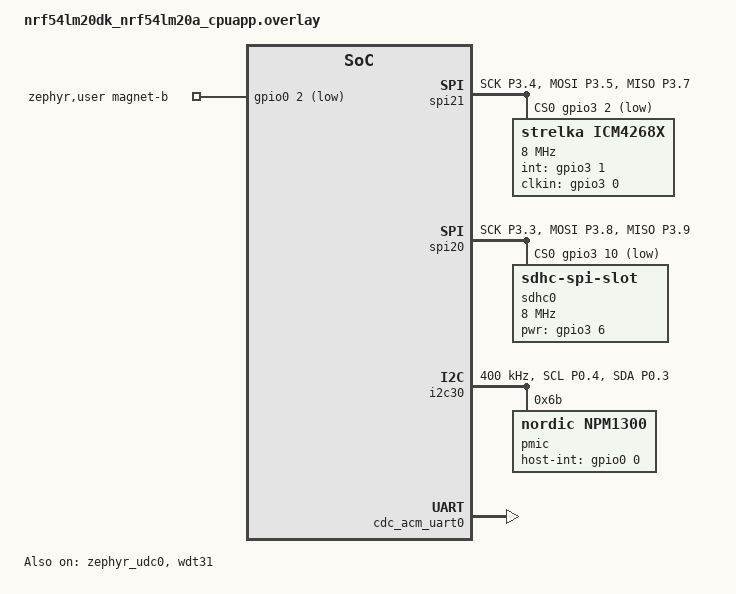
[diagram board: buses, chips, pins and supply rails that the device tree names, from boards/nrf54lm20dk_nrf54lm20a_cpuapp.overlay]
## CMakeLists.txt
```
# NIC-Strelka — the Belka's firmware: an nRF Connect SDK project on Zephyr, built with sysbuild
# for the nRF54LM20-DK, MCUboot beside it (FIRMWARE.md, The platform):
#
#     west build -b nrf54lm20dk/nrf54lm20a/cpuapp --sysbuild firmware/belka
#
# Built against nRF Connect SDK v3.4.0 with Zephyr SDK 1.0.1, MCUboot beside it; not run on
# hardware: the kit decides it (../README.md).
cmake_minimum_required(VERSION 3.20.0)
# the shared Kconfig first, the unit's own after it, so that the unit's values win; a file given
# by -D<project>_EXTRA_CONF_FILE comes after both
set(CONF_FILE ${CMAKE_CURRENT_LIST_DIR}/../shared/common.conf ${CMAKE_CURRENT_LIST_DIR}/prj.conf)
# Kryska: the Belka's firmware for Kryska's board, its devicetree and configuration laid over, by
# sysbuild's own variables for the image (boards/kryska.overlay):
#
#     west build -b nrf54lm20dk/nrf54lm20a/cpuapp --sysbuild firmware/belka --
#         -Dbelka_EXTRA_CONF_FILE=kryska.conf -Dbelka_EXTRA_DTC_OVERLAY_FILE=boards/kryska.overlay
#
# its other way, the NOR flash, by kryska_nor.conf and boards/kryska_nor.overlay the same
# the sensor on the FLPR; first, so that the fallback's overlay, given after it, wins
# (boards/sensor_on_app.overlay, with CONFIG_STRELKA_SENSOR_FLPR=n)
list(PREPEND EXTRA_DTC_OVERLAY_FILE ${CMAKE_CURRENT_LIST_DIR}/boards/flpr.overlay)
find_package(Zephyr REQUIRED HINTS $ENV{ZEPHYR_BASE})
project(strelka_belka LANGUAGES C)

set(COMMON ${CMAKE_CURRENT_LIST_DIR}/../common)
set(SHARED ${CMAKE_CURRENT_LIST_DIR}/../shared)
target_sources(app PRIVATE
  src/main.c
  ${SHARED}/clock.c
  ${SHARED}/crypto_psa.c
  ${SHARED}/light.c
  ${SHARED}/magnet.c
  ${SHARED}/usb.c
  ${SHARED}/gauge.c
  ${SHARED}/store.c
  ${SHARED}/pmic.c
  ${SHARED}/power.c
  ${SHARED}/strelka_mgmt_zephyr.c
  ${COMMON}/cal.c
  ${COMMON}/crc32.c
  ${COMMON}/record.c
  ${COMMON}/session.c
  ${COMMON}/steps.c
  ${COMMON}/frame.c
  ${COMMON}/belka_link.c
  ${COMMON}/orient.c
  ${COMMON}/frag.c
  ${COMMON}/smp.c
  ${COMMON}/strelka_mgmt.c
  ${COMMON}/quat.c
  ${COMMON}/loop.c
  ${COMMON}/imu_tables.c
  ${COMMON}/resample.c
  ${COMMON}/setfile.c
)
# the Belka's card, Kryska's SD NAND too, or on Kryska's other way its NOR flash behind the card's
# interface, the record raw on it (chapters/kryska-memory.md)
if(CONFIG_DISK_DRIVER_SDMMC)
  target_sources(app PRIVATE src/card.c)
else()
  target_sources(app PRIVATE src/flash_rec.c ${COMMON}/flashrec.c)
endif()
if(CONFIG_STRELKA_SENSOR_FLPR)
  target_sources(app PRIVATE src/sensor_flpr.c)
else()
  target_sources(app PRIVATE src/imu.c)
endif()
target_include_directories(app PRIVATE src ${SHARED} ${COMMON})
# the fuel gauge's cell model: the SDK sample's, until the cell is profiled (shared/gauge.h)
target_include_directories(app PRIVATE ${ZEPHYR_NRF_MODULE_DIR}/samples/pmic/native/npm13xx_fuel_gauge/src)
```

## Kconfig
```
# NIC-Strelka — the Belka's own options.

config STRELKA_SENSOR_FLPR
	bool "The sensor read by the FLPR"
	default y
	help
	  The sensor set and read by the nRF54LM20A's RISC-V coprocessor, firmware/flpr, its samples
	  handed over in a ring in shared RAM (FIRMWARE.md, The sensor on the FLPR). Off, the main
	  core reads it, src/imu.c: the fallback, built with boards/sensor_on_app.overlay laid over
	  boards/flpr.overlay (firmware/README.md, Building).

config STRELKA_KRYSKA
	bool "Built for Kryska"
	default n
	help
	  The unit says itself Kryska in 64/0's kind (COMMANDS.md): set by kryska.conf, its SD NAND
	  served as the Belka's card, and by kryska_nor.conf, its other way, the NOR flash
	  (chapters/kryska-memory.md).

config STRELKA_CELL_EMPTY_MV
	int "The cell's end voltage, mV"
	default 3100
	help
	  Under it for ten seconds running, the record is closed and the unit goes off: the
	  Belka's LiFePO4 cell at 3,10 V (PARTS.md, The cells); Kryska's 3,30 V until its cell is
	  chosen (kryska.conf). The fuel gauge's 0 % is not trusted until the cell's own model is
	  made (FIRMWARE.md, The PMIC).

config STRELKA_BUCK2_PWM_RECORDING
	bool "BUCK2 forced into PWM while a record runs"
	default n
	help
	  Kryska's module runs on the PMIC's BUCK2: forced into PWM from a record's start, its
	  ripple some 5 mVpp against 50 in its automatic mode's hysteresis at a light load (the
	  nPM1300's product specification v1.1, 6.3.6), Nordic's mode for the radio's sake; handed
	  back to its automatic mode at the record's end (FIRMWARE.md, The PMIC). The Belka's bucks
	  are unused.

# The SDK's MCUmgr reboot hook, on by default on the nRF54L series whenever MPSL is in, calls
# mpsl_uninit() before a reset, and links a part of libmpsl that asks for two callbacks MPSL's
# FEM-only cut leaves out. It has no prompt; given one here, as Nordic advised (DevZone 129531),
# prj.conf turns it off: MPSL never started, there is nothing to uninitialise (FIRMWARE.md, The
# platform).
config MCUMGR_GRP_OS_REBOOT_BT
	bool "Disable Bluetooth/MPSL before MCUmgr reboot"

source "Kconfig.zephyr"
```

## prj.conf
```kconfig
# NIC-Strelka — the Belka's own Zephyr configuration; what both units share is
# ../shared/common.conf (FIRMWARE.md). Built against nRF Connect SDK v3.4.0; not run on hardware.

# MPSL never started: no protocol of its own runs on the Belka, so it holds neither the radio nor
# TIMER10, and ESB and the frame take turns alone (FIRMWARE.md, The platform)
CONFIG_MPSL_FEM_ONLY=y
# and so no MPSL to take down before MCUmgr's reset: the SDK's reboot hook off, its prompt given in
# Kconfig (DevZone 129531)
CONFIG_MCUMGR_GRP_OS_REBOOT_BT=n

# the card on SPIM20: Zephyr's SD stack over SPI, FatFs with long names and exFAT, the disk "SD"
# (FIRMWARE.md, The record; RECORD.md, The file)
CONFIG_DISK_ACCESS=y
CONFIG_SDHC=y
CONFIG_SPI_SDHC=y
CONFIG_SDMMC_STACK=y
CONFIG_DISK_DRIVER_SDMMC=y
CONFIG_FILE_SYSTEM=y
CONFIG_FAT_FILESYSTEM_ELM=y
CONFIG_FS_FATFS_LFN=y
CONFIG_FS_FATFS_MAX_LFN=64
CONFIG_FS_FATFS_EXFAT=y
CONFIG_FS_FATFS_MOUNT_MKFS=n
# f_expand, the file's room taken in one run at the start (FIRMWARE.md, The record)
CONFIG_FS_FATFS_EXTRA_NATIVE_API=y
CONFIG_FILE_SYSTEM_MKFS=y
CONFIG_FS_FATFS_MKFS=y

# the card as a disk on the cable, read-only (FIRMWARE.md, USB)
CONFIG_USBD_MSC_CLASS=y

# the files' group of MCUmgr: the record's download, 8/0–8/2 (COMMANDS.md); a file up to 4 GB,
# its offsets of five bytes in the frame, where Zephyr's default stops at 64 KB
CONFIG_MCUMGR_GRP_FS=y
CONFIG_MCUMGR_GRP_FS_MAX_FILE_SIZE_4GB=y
CONFIG_MCUMGR_GRP_FS_FILE_STATUS=y
CONFIG_MCUMGR_GRP_FS_CHECKSUM_HASH=y
CONFIG_MCUMGR_GRP_FS_HASH_SHA256=y

# the sensor's thread reads at every data-ready; the writer below it takes the blocks to the card
CONFIG_NUM_PREEMPT_PRIORITIES=16
```

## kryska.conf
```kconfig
# NIC-Strelka — Kryska's configuration over the Belka's (boards/kryska.overlay): its SD NAND served
# as the Belka's card, the same SD stack, FatFs and USB disk (KRYSKA.md). Built against nRF Connect
# SDK v3.4.0; not run on hardware.
# Kryska in 64/0's kind
CONFIG_STRELKA_KRYSKA=y
# the cell's end voltage until Kryska's cell is chosen: a Li-poly cell's 3,30 V
CONFIG_STRELKA_CELL_EMPTY_MV=3300
# BUCK2 in PWM while a record runs (Kconfig, FIRMWARE.md, The PMIC)
CONFIG_STRELKA_BUCK2_PWM_RECORDING=y
```

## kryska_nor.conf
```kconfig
# NIC-Strelka — Kryska's other way, its memory NOR flash (chapters/kryska-memory.md), over the
# Belka's configuration (boards/kryska_nor.overlay): the flash on SPIM20
# in the card's place, through Zephyr's SPI NOR driver; the card's SD stack, its FatFs and its USB
# disk left out, src/flash_rec.c behind the card's interface, the record raw on the flash and the
# sessions as files of a file system of its own. Built against nRF Connect SDK v3.4.0;
# not run on hardware.
CONFIG_SDHC=n
CONFIG_SPI_SDHC=n
CONFIG_SDMMC_STACK=n
CONFIG_DISK_DRIVER_SDMMC=n
CONFIG_SPI_NOR=y
CONFIG_FAT_FILESYSTEM_ELM=n
CONFIG_FS_FATFS_EXTRA_NATIVE_API=n
CONFIG_FILE_SYSTEM_MKFS=n
CONFIG_USBD_MSC_CLASS=n
# the sessions' names, S00007B03_2.STRK and on, where no FatFs sets the length
CONFIG_FILE_SYSTEM_MAX_FILE_NAME=31
# SMP on the serial port on the cable, Zephyr's SMP over console framing beside the console's
# own lines: the set given as STRELKA.SET into the record's file system, and the download by the
# cable (FIRMWARE.md, USB; COMMANDS.md)
CONFIG_UART_MCUMGR=y
CONFIG_MCUMGR_TRANSPORT_UART=y
CONFIG_MCUMGR_TRANSPORT_UART_MTU=2048
CONFIG_BASE64=y
CONFIG_CRC=y
# Kryska in 64/0's kind
CONFIG_STRELKA_KRYSKA=y
# the cell's end voltage until Kryska's cell is chosen: a Li-poly cell's 3,30 V
CONFIG_STRELKA_CELL_EMPTY_MV=3300
# BUCK2 in PWM while a record runs (Kconfig, FIRMWARE.md, The PMIC)
CONFIG_STRELKA_BUCK2_PWM_RECORDING=y
```

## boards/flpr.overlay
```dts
/* NIC-Strelka — the Belka with its sensor on the FLPR (FIRMWARE.md, The sensor on the FLPR), as
 * Nordic's guide lays it out (the SDK's nrf54l_signing_with_payload.rst): the FLPR's code in a
 * partition inside the first image slot, 0x70000-0x88000, as large as the RAM it is copied into,
 * which Nordic's launcher asks, so that MCUboot signs and updates it with the Belka's own; right
 * above the Belka's code, which has 0x10000-0x70000, 384 KB, so that the signed image spans no
 * empty slot, and the slot's rest, 0x88000-0x102000, left for MCUboot's swap. The RAM in its two parts (the owner,
 * 1 Nov 2026): RAM_00, 256 KB, the main core's alone, which the running FLPR never slows; in
 * RAM_01 the card's buffer of 128 KB, shared, whichever core holds the card using it, 14 KB
 * spare, the sensor's ring, and the FLPR's 96 KB at the top. SPIM21 the FLPR's. The fallback's
 * boards/sensor_on_app.overlay, laid over it, gives SPIM21 back and leaves the FLPR off. */

/ {
	soc {
		reserved-memory {
			#address-cells = <1>;
			#size-cells = <1>;

			cpuflpr_code_partition: image@70000 {
				reg = <0x70000 DT_SIZE_K(96)>;
			};
		};

		cpuflpr_sram_code_data: memory@20067c00 {
			compatible = "mmio-sram";
			reg = <0x20067c00 DT_SIZE_K(96)>;
			#address-cells = <1>;
			#size-cells = <1>;
			ranges = <0x0 0x20067c00 0x18000>;
		};
	};

	reserved-memory {
		#address-cells = <1>;
		#size-cells = <1>;
		ranges;

		/* the card's buffer: 256 blocks of 512 B (belka/src/card.c) */
		card_buffer: memory@20040000 {
			reg = <0x20040000 0x20000>;
		};

		/* the ring: 32 B of head and 1 024 samples of 24 B (common/sensor_ring.h) */
		sensor_ring: memory@20061800 {
			reg = <0x20061800 0x6400>;
		};
	};
};

&cpuapp_sram {
	reg = <0x20000000 DT_SIZE_K(256)>;
	ranges = <0x0 0x20000000 DT_SIZE_K(256)>;
};

&cpuflpr_vpr {
	status = "okay";
	execution-memory = <&cpuflpr_sram_code_data>;
	source-memory = <&cpuflpr_code_partition>;
};

&spi21 {
	status = "disabled";
};
```

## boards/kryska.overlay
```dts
/* NIC-Strelka — Kryska's board laid over the Belka's devicetree: the Belka's firmware built for
 * Kryska (FIRMWARE.md, The code; KRYSKA.md; BOARD.md, Kryska). The memory is an SD NAND, CS's
 * CSNP1GCR01-BOW, soldered where the Belka has its card's slot, on the same pins and the same
 * switched supply, U6: the Belka's card node serves it as it is, a card to Zephyr's SD stack. The
 * PMIC's BUCK2 at 3,0 V from power-on, set by its VSET2 resistor, declared so that nothing switches
 * it off; the charge the cell's chosen with its box, 4,00 V and 32 mA until then. Built with
 *
 *     west build -b nrf54lm20dk/nrf54lm20a/cpuapp --sysbuild firmware/belka --
 *         -Dbelka_EXTRA_CONF_FILE=kryska.conf -Dbelka_EXTRA_DTC_OVERLAY_FILE=boards/kryska.overlay
 *
 * against nRF Connect SDK v3.4.0; not run on hardware. Kryska's other way, NOR flash, is
 * boards/kryska_nor.overlay with kryska_nor.conf. */

&pmic_charger {
	term-microvolt = <4000000>;
	current-microamp = <32000>;
};

&pmic_regulators {
	pmic_buck2: BUCK2 {
		regulator-min-microvolt = <3000000>;
		regulator-max-microvolt = <3000000>;
		regulator-boot-on;
		regulator-always-on;
	};
};
```

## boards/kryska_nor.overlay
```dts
/* NIC-Strelka — Kryska's other way, its memory NOR flash (chapters/kryska-memory.md), laid over the
 * Belka's devicetree: the Belka's firmware built for Kryska. The memory is Winbond's W25Q01JV on
 * SPIM20, the card's pins, in the card slot's place; the PMIC's BUCK2 at 3,0 V from power-on, set
 * by its VSET2 resistor, declared so that nothing switches it off; the charge the cell's chosen
 * with its box, 4,00 V and 32 mA until then. Built with
 *
 *     west build -b nrf54lm20dk/nrf54lm20a/cpuapp --sysbuild firmware/belka --
 *         -Dbelka_EXTRA_CONF_FILE=kryska_nor.conf \
 *         -Dbelka_EXTRA_DTC_OVERLAY_FILE=boards/kryska_nor.overlay
 *
 * against nRF Connect SDK v3.4.0; not run on hardware. */

&spi20 {
	/delete-node/ sdhc@0;

	/* the W25Q01JV-IQ: JEDEC ID EF 40 21 (its sheet, Rev E, 6.3.1), 1 Gbit, entered into
	 * 4-byte addressing by B7h; power-down after tDP 3 µs, out of it after tRES1 3 µs (7.6) */
	rec_flash: flash@0 {
		compatible = "jedec,spi-nor";
		reg = <0>;
		spi-max-frequency = <8000000>;
		jedec-id = [ef 40 21];
		size = <0x40000000>;
		enter-4byte-addr = <0x01>;
		has-dpd;
		t-enter-dpd = <3000>;
		t-exit-dpd = <3000>;
	};
};

&pmic_charger {
	term-microvolt = <4000000>;
	current-microamp = <32000>;
};

&pmic_regulators {
	pmic_buck2: BUCK2 {
		regulator-min-microvolt = <3000000>;
		regulator-max-microvolt = <3000000>;
		regulator-boot-on;
		regulator-always-on;
	};
};
```

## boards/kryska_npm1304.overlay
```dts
/* NIC-Strelka — Kryska's run on the nPM1304, laid over boards/kryska.overlay: the same pins, the
 * chip's own compatibles, since the SDK's drivers encode its charge's voltage and current
 * otherwise than the nPM1300's (zephyr/drivers/sensor/nordic/npm13xx_charger); the cell's discharge
 * fixed at 125 mA (the binding nordic,npm1304-charger); one chip a whole run, never both
 * (KRYSKA.md). Built with
 *
 *     west build -b nrf54lm20dk/nrf54lm20a/cpuapp --sysbuild firmware/belka --
 *         -Dbelka_EXTRA_CONF_FILE=kryska.conf
 *         -Dbelka_EXTRA_DTC_OVERLAY_FILE="boards/kryska.overlay;boards/kryska_npm1304.overlay"
 *
 * against nRF Connect SDK v3.4.0; not run on hardware. */

&pmic {
	compatible = "nordic,npm1304";
};

&pmic_charger {
	compatible = "nordic,npm1304-charger";
	dischg-limit-microamp = <125000>;
};

&pmic_regulators {
	compatible = "nordic,npm1304-regulator";
};
```

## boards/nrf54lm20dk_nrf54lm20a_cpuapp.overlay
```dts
/* NIC-Strelka — the Belka's pins on the nRF54LM20A, as FIRMWARE.md (The pins) and BOARD.md give
 * them. Built for the nRF54LM20-DK first, the nRF54LM20A emulated on its nRF54LM20B; the module
 * carries the same chip, so the pins are the chip's. The console and MCUboot's recovery are a USB
 * serial port on the contact's pair; the kit's debugger UART, SERIAL20, is the card's instance
 * and stays off. Built against nRF Connect SDK v3.4.0; not run on hardware: the kit decides it.
 */

#include <zephyr/dt-bindings/gpio/nordic-nrf-gpio.h>

/ {
	chosen {
		zephyr,console = &cdc_acm_uart0;
		zephyr,shell-uart = &cdc_acm_uart0;
		zephyr,uart-mcumgr = &cdc_acm_uart0;
	};

	aliases {
		imu = &icm4268x;
		watchdog0 = &wdt31;
	};

	/* the board's own pin, read by shared/magnet.c: magnet B's Hall switch, low with the magnet
	 * there, the processor's pull-up on it; magnet A and the light are the PMIC's */
	zephyr,user {
		magnet-b-gpios = <&gpio0 2 (GPIO_ACTIVE_LOW | GPIO_PULL_UP)>;
	};
};

&pinctrl {
	/* the sensor: SPIM21 on P3.04 SCK, P3.05 the sensor's SDI, P3.07 its SDO; CS P3.02 */
	spi21_default: spi21_default {
		group1 {
			psels = <NRF_PSEL(SPIM_SCK, 3, 4)>, <NRF_PSEL(SPIM_MOSI, 3, 5)>,
				<NRF_PSEL(SPIM_MISO, 3, 7)>;
		};
	};
	spi21_sleep: spi21_sleep {
		group1 {
			psels = <NRF_PSEL(SPIM_SCK, 3, 4)>, <NRF_PSEL(SPIM_MOSI, 3, 5)>,
				<NRF_PSEL(SPIM_MISO, 3, 7)>;
			low-power-enable;
		};
	};
	/* the card: SPIM20 on P3.03 CLK, P3.08 DI, P3.09 DO; CS P3.10 (FIRMWARE.md, The pins) */
	spi20_default: spi20_default {
		group1 {
			psels = <NRF_PSEL(SPIM_SCK, 3, 3)>, <NRF_PSEL(SPIM_MOSI, 3, 8)>,
				<NRF_PSEL(SPIM_MISO, 3, 9)>;
		};
	};
	spi20_sleep: spi20_sleep {
		group1 {
			psels = <NRF_PSEL(SPIM_SCK, 3, 3)>, <NRF_PSEL(SPIM_MOSI, 3, 8)>,
				<NRF_PSEL(SPIM_MISO, 3, 9)>;
			low-power-enable;
		};
	};
	/* the PMIC: TWIM30 on P0.04 SCL, P0.03 SDA */
	i2c30_default: i2c30_default {
		group1 {
			psels = <NRF_PSEL(TWIM_SCL, 0, 4)>, <NRF_PSEL(TWIM_SDA, 0, 3)>;
		};
	};
	i2c30_sleep: i2c30_sleep {
		group1 {
			psels = <NRF_PSEL(TWIM_SCL, 0, 4)>, <NRF_PSEL(TWIM_SDA, 0, 3)>;
			low-power-enable;
		};
	};
};

&spi21 {
	status = "okay";
	pinctrl-0 = <&spi21_default>;
	pinctrl-1 = <&spi21_sleep>;
	pinctrl-names = "default", "sleep";
	cs-gpios = <&gpio3 2 GPIO_ACTIVE_LOW>;

	icm4268x: icm4268x@0 {
		compatible = "strelka,icm4268x";
		reg = <0>;
		spi-max-frequency = <8000000>;
		int-gpios = <&gpio3 1 GPIO_ACTIVE_HIGH>;      /* INT1, the data-ready */
		clkin-gpios = <&gpio3 0 GPIO_ACTIVE_HIGH>;    /* CLKIN, the sensor's pin 9 */
	};
};

&spi20 {
	status = "okay";
	pinctrl-0 = <&spi20_default>;
	pinctrl-1 = <&spi20_sleep>;
	pinctrl-names = "default", "sleep";
	cs-gpios = <&gpio3 10 GPIO_ACTIVE_LOW>;

	/* the card in SPI mode: Zephyr's SD stack identifies it at 400 kHz and runs it at 8 MHz,
	 * the most SPIM20 gives; its supply, U6, switched by P3.06 (BOARD.md, The card) */
	sdhc0: sdhc@0 {
		compatible = "zephyr,sdhc-spi-slot";
		reg = <0>;
		status = "okay";
		spi-max-frequency = <8000000>;
		pwr-gpios = <&gpio3 6 GPIO_ACTIVE_HIGH>;

		mmc {
			compatible = "zephyr,sdmmc-disk";
			disk-name = "SD";
			status = "okay";
		};
	};
};

&i2c30 {
	status = "okay";
	pinctrl-0 = <&i2c30_default>;
	pinctrl-1 = <&i2c30_sleep>;
	pinctrl-names = "default", "sleep";
	clock-frequency = <I2C_BITRATE_FAST>;

	/* the PMIC, Nordic's nPM1300 at 0x6B, its interrupt from GPIO0 to P0.00; its bucks unused
	 * on this board, VSET grounded; the long press of SHPHLD, magnet A, left as reset, 10 s to a
	 * power cycle (FIRMWARE.md, The PMIC; BOARD.md, U2) */
	pmic: pmic@6b {
		compatible = "nordic,npm1300";
		reg = <0x6b>;
		host-int-gpios = <&gpio0 0 GPIO_ACTIVE_HIGH>;
		pmic-int-pin = <0>;

		/* the LiFePO4 cell, LTOPOW's LFP103042: 3,50 V at 300 mA; the USB input 500 mA */
		pmic_charger: charger {
			compatible = "nordic,npm1300-charger";
			term-microvolt = <3500000>;
			current-microamp = <300000>;
			dischg-limit-microamp = <1000000>;
			vbus-limit-microamp = <500000>;
			thermistor-ohms = <10000>;
			thermistor-beta = <3380>;
			thermistor-cold-millidegrees = <0>;
			thermistor-cool-millidegrees = <10000>;
			thermistor-warm-millidegrees = <40000>;
			thermistor-hot-millidegrees = <45000>;
			charging-enable;
		};

		/* the regulators' parent, for ship mode alone */
		pmic_regulators: regulators {
			compatible = "nordic,npm1300-regulator";
		};
	};
};

/* The BM20F's 32 MHz crystal wants the chip's load capacitance at 14,5 pF for ±20 ppm on the
 * carrier (Fanstel's specification v1.00, Crystal). The kit's own crystal keeps the kit's 15 pF:
 * this block is for the module's board and stays commented out on the kit.
 *
 * &hfxo {
 *	load-capacitors = "internal";
 *	load-capacitance-femtofarad = <14500>;
 * };
 */

/* USB: the high-speed device on the contact's pair — the serial port for the console and
 * MCUboot's door; the disk over the card is the MSC class of prj.conf, shared/usb.c naming the
 * disk "SD" (FIRMWARE.md, USB). */
&zephyr_udc0 {
	status = "okay";

	cdc_acm_uart0: cdc_acm_uart0 {
		compatible = "zephyr,cdc-acm-uart";
	};
};

/* the kit's console UART, uart20, is SERIAL20, the card's SPIM20's own instance: on the kit the
 * console is the USB port alone */
&uart20 {
	status = "disabled";
};

/* the kit's own SPI00 (P3.00, P3.01, P3.03) and PWM20 (P3.04) would take the pins of CLKIN, INT1
 * and both SCKs at their drivers' start: off */
&spi00 {
	status = "disabled";
};

&pwm20 {
	status = "disabled";
};

&wdt31 {
	status = "okay";
};

&gpio0 {
	status = "okay";
};

&gpio1 {
	status = "okay";
};

&gpio3 {
	status = "okay";
};
```

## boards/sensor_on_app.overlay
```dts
/* NIC-Strelka — the fallback, should the FLPR not prove itself on the kit (FIRMWARE.md, Reading the
 * sensor): the sensor on the main core again, SPIM21 its own, the FLPR not started. Laid over
 * boards/flpr.overlay with -Dbelka_EXTRA_DTC_OVERLAY_FILE, with
 * -Dbelka_CONFIG_STRELKA_SENSOR_FLPR=n (firmware/README.md, Building). */

&spi21 {
	status = "okay";
};

&cpuflpr_vpr {
	status = "disabled";
};
```

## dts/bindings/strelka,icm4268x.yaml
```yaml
# NIC-Strelka — the motion sensor on its SPI, one land: ST's LSM6DSV16X, or TDK's ICM-42686-P
# or ICM-42688-P.

description: ST LSM6DSV16X, or TDK ICM-42686-P or ICM-42688-P, on SPI, with its data-ready and its pin 9, CLKIN or the reference

compatible: "strelka,icm4268x"

include: spi-device.yaml

properties:
  int-gpios:
    type: phandle-array
    required: true
    description: INT1, the data-ready, captured by a timer in hardware

  clkin-gpios:
    type: phandle-array
    required: true
    description: CLKIN on the sensor's pin 9, made by a timer of the 16 MHz clock
```

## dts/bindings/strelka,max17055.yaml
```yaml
# NIC-Strelka — the gauge on its I²C, written the way of ADI's guide by the firmware itself, not
# by Zephyr's driver, whose model is Li-ion's (FIRMWARE.md, The charger and the supply).

description: ADI MAX17055 fuel gauge on I²C, set by Strelka's own code

compatible: "strelka,max17055"

include: i2c-device.yaml
```

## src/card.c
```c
#include <errno.h>
#include <stdio.h>
#include <string.h>
#include <zephyr/kernel.h>
#include <zephyr/devicetree.h>
#include <zephyr/fs/fs.h>
#include <zephyr/storage/disk_access.h>
#include <zephyr/sys/byteorder.h>
#include <zephyr/sys/util.h>
#include <zephyr/logging/log.h>
#include <ff.h>
#include "card.h"
#include "record.h"

LOG_MODULE_REGISTER(card, LOG_LEVEL_INF);

#define DISK        "SD"
#define MOUNT       "/SD:"
#define RING_BLOCKS 256                    /* 128 KB: a quarter of the RAM (calc/params.py) */
#define BUF_NODE    DT_NODELABEL(card_buffer)
#define SYNC_MS     3000                   /* what is written saved to the card every 3 s */
#define WRITER_PRIO 10                     /* below the sensor's and the radio's threads */
#define DAY_S       86400u                 /* the room asked: a day of the record at its rate */
#define ROOM_TRIES  3                      /* that room, then a quarter of it, twice: on FAT32
					    * each try that fails reads the whole FAT */
#define FILE_CAP    (0x80000000ull - REC_BLOCK_BYTES)  /* a file under 2 GiB, Zephyr's off_t
						        * being 32 bits: the record goes on in
						        * the next part (FIRMWARE.md, The record) */

static FATFS fat_fs;
static struct fs_mount_t mnt = {
	.type = FS_FATFS,
	.fs_data = &fat_fs,
	.mnt_point = MOUNT,
};
static struct fs_file_t file;
static bool present, mounted, file_open, closing;
static uint8_t fault;
static uint32_t dropped;
static uint64_t room, written;             /* the room taken at the start, the bytes written */
static uint8_t probe[REC_BLOCK_BYTES];     /* a block read back, on the way in */
static uint16_t open_session;              /* the record being written, for its next part */
static uint8_t open_belka, part;           /* part 1 the file as named, 2 and on _2, _3 … */
static uint32_t open_rate;
static uint8_t head_copy[REC_BLOCK_BYTES]; /* the session's head, repeated at each part's start */
static bool head_kept;

/* the buffer in RAM_01, shared with the FLPR, so that either core could hold the card without
 * moving it (belka/boards/flpr.overlay; FIRMWARE.md, The sensor on the FLPR); the card's 1 MB/s
 * untouched by the few cycles' wait a running FLPR may add to RAM_01 */
BUILD_ASSERT(DT_REG_SIZE(BUF_NODE) >= RING_BLOCKS * REC_BLOCK_BYTES, "the card's buffer holds it");
static uint8_t (*const ring)[REC_BLOCK_BYTES] = (uint8_t (*)[REC_BLOCK_BYTES])DT_REG_ADDR(BUF_NODE);
static volatile uint32_t head, tail;       /* head the next free, tail the next to write */
static K_SEM_DEFINE(blocks_ready, 0, RING_BLOCKS);
static K_SEM_DEFINE(ring_empty, 0, 1);

int card_mount(void)
{
	int rc;

	if (mounted) {
		return 0;
	}
	rc = fs_mount(&mnt);
	if (rc) {
		fault = FAULT_FS_UNREADABLE;
		LOG_WRN("the card's file system unreadable (%d)", rc);
		return fault;
	}
	mounted = true;
	fault = FAULT_NONE;
	LOG_INF("the card mounted, %u MB free", card_free_mb());
	return 0;
}

int card_unmount(void)
{
	if (!mounted || file_open) {
		return file_open ? -EBUSY : 0;
	}
	fs_unmount(&mnt);
	/* FatFs's unmount lets the disk go, which the SD stack takes as its power-off and marks
	 * it uninitialised — and the USB disk class answers "not ready" for a disk in that state;
	 * so it is brought up again at once, identified and powered, for the host to have it */
	(void)disk_access_ioctl(DISK, DISK_IOCTL_CTRL_INIT, NULL);
	mounted = false;
	return 0;
}

bool card_mounted(void)
{
	return mounted;
}

/* block i of an open file read into probe, its CRC whole; FatFs's own calls, as a file of exFAT
 * may pass the 2 GiB of Zephyr's off_t */
static bool block_at(FIL *fp, uint64_t i)
{
	UINT got;

	return f_lseek(fp, (FSIZE_t)(i * REC_BLOCK_BYTES)) == FR_OK &&
	       f_read(fp, probe, REC_BLOCK_BYTES, &got) == FR_OK && got == REC_BLOCK_BYTES &&
	       rec_block_ok(probe);
}

/* what the file's own blocks must agree with: its session from its head, whether it keeps the
 * high-g channel's blocks (a group of theirs in the head), where the data begin after the
 * table's parts, and the first data block's period */
struct own {
	uint16_t session;
	uint32_t first_period;
	uint64_t first_data;
	bool hg;
};

/* a block of this session's file after its head: its CRC whole, its kind one of the file's, its
 * session the head's — and, so that an older file of the same number left in the same clusters
 * is not taken for it, a table's part where the table stands, a data or information block's
 * count never behind its place (blocks dropped only put it ahead; the high-g blocks take no
 * number) and its period not before the first's, a high-g block's cycle likewise, an end's count
 * of blocks likewise (RECORD.md, The end) */
static bool ours(FIL *fp, uint64_t i, const struct own *o)
{
	uint64_t at;

	if (!block_at(fp, i) || sys_get_le16(probe + 2) != o->session) {
		return false;
	}
	at = i >= o->first_data ? i - o->first_data : 0;
	switch (probe[0]) {
	case REC_TABLE:
		return i < o->first_data && probe[1] == i - 1;
	case REC_DATA:
	case REC_INFO:
		return i >= o->first_data && sys_get_le32(probe + 4) >= rec_count_at(o->hg, at) &&
		       sys_get_le32(probe + 8) >= o->first_period;
	case REC_HG:
		return i >= o->first_data && o->hg && sys_get_le32(probe + 4) >= rec_count_hg(at) &&
		       sys_get_le32(probe + 8) >= o->first_period;
	case REC_END:
		return i >= o->first_data && sys_get_le32(probe + 8) >= rec_count_end(o->hg, at);
	default:
		return false;
	}
}

/* a file the power left in its room cut to its last block of its own: the last block looked at
 * first, the end there in every file closed; else halved down to the last one, the blocks
 * written being one run from the head and the room after them another file's or none */
static void cut_to_whole(const char *path)
{
	struct fs_file_t f;
	FIL *fp;
	uint64_t n, lo, hi;
	struct own o;
	struct rec_head head;

	fs_file_t_init(&f);
	if (fs_open(&f, path, FS_O_RDWR)) {
		return;
	}
	fp = f.filep;
	n = fp->obj.objsize / REC_BLOCK_BYTES;
	if (n < 2 || !block_at(fp, 0) || memcmp(probe, "STRK", 4) != 0) {
		goto out;                        /* no head of ours: left as it is */
	}
	memcpy(&head, probe, sizeof(head));
	o.session = head.session;
	o.first_period = 0;
	o.hg = false;
	for (unsigned g = 0; g < head.groups && g < REC_GROUPS_MAX; g++) {
		o.hg = o.hg || probe[REC_GROUPS_AT + g * sizeof(struct rec_group)] == REC_HG;
	}
	o.first_data = 1;
	if (block_at(fp, 1) && probe[0] == REC_TABLE && sys_get_le16(probe + 2) == o.session &&
	    probe[1] == 0) {
		o.first_data += rec_table_blocks(sys_get_le16(probe + 4));
	}
	/* the first data block's period: the head keeps none since version 4 */
	if (o.first_data < n && block_at(fp, o.first_data) && probe[0] == REC_DATA &&
	    sys_get_le16(probe + 2) == o.session) {
		o.first_period = sys_get_le32(probe + 8);
	}
	if (ours(fp, n - 1, &o)) {
		goto out;                        /* closed, or written to its last byte */
	}
	lo = 0;                                  /* ours */
	hi = n - 1;                              /* not */
	while (hi - lo > 1) {
		uint64_t mid = lo + (hi - lo) / 2;

		if (ours(fp, mid, &o)) {
			lo = mid;
		} else {
			hi = mid;
		}
	}
	if (f_lseek(fp, (FSIZE_t)((lo + 1) * REC_BLOCK_BYTES)) == FR_OK && f_truncate(fp) == FR_OK) {
		LOG_INF("%s cut to its %llu blocks of its own", path, (unsigned long long)(lo + 1));
	}
out:
	fs_close(&f);
}

/* at the start, after a power cut or a reset that left a record open */
static void cut_unfinished(void)
{
	static struct fs_dirent entry;
	struct fs_dir_t dir;
	char path[80];

	fs_dir_t_init(&dir);
	if (fs_opendir(&dir, MOUNT)) {
		return;
	}
	while (fs_readdir(&dir, &entry) == 0 && entry.name[0] != '\0') {
		size_t len = strlen(entry.name);

		if (entry.type == FS_DIR_ENTRY_FILE && len > 5 &&
		    strcmp(entry.name + len - 5, ".STRK") == 0) {
			snprintf(path, sizeof(path), MOUNT "/%s", entry.name);
			cut_to_whole(path);
		}
	}
	fs_closedir(&dir);
}

int card_init(void)
{
	int rc = disk_access_init(DISK);

	if (rc) {
		fault = FAULT_NO_CARD;
		LOG_WRN("no card (%d)", rc);
		return fault;
	}
	present = true;
	rc = card_mount();
	if (rc == 0) {
		cut_unfinished();
	}
	return rc;
}

uint8_t card_fault(void)
{
	return fault;
}

bool card_present(void)
{
	return present;
}

uint32_t card_both_most_hz(void)
{
	return UINT32_MAX;
}

uint8_t card_fs(void)
{
	return present ? 2 : 0;            /* the card's format read, to come */
}

static bool free_room(struct fs_statvfs *st)
{
	return mounted && fs_statvfs(MOUNT, st) == 0;
}

/* the card's free bytes, the room taken and not yet written counted with them */
static uint64_t free_bytes(const struct fs_statvfs *st)
{
	uint64_t bytes = (uint64_t)st->f_bfree * st->f_frsize;

	if (file_open && room > written) {
		bytes += room - written;
	}
	return bytes;
}

uint8_t card_free_pct(void)
{
	struct fs_statvfs st;
	uint64_t all;

	if (!free_room(&st) || st.f_blocks == 0) {
		return 0;
	}
	all = (uint64_t)st.f_blocks * st.f_frsize;
	return (uint8_t)MIN(free_bytes(&st) * 100 / all, 100u);
}

uint32_t card_free_mb(void)
{
	struct fs_statvfs st;

	if (!free_room(&st)) {
		return 0;
	}
	return (uint32_t)(free_bytes(&st) / (1024 * 1024));
}

/* the bytes of a day's record at its rate: four blocks every 120 steps (RECORD.md, The file) */
static uint64_t day_bytes(uint32_t rate_hz)
{
	return (uint64_t)rate_hz * DAY_S * (4u * REC_BLOCK_BYTES) / REC_INFO_STEPS;
}

/* the file's room taken in one run, FatFs's f_expand (CONFIG_FS_FATFS_EXTRA_NATIVE_API): a day of
 * the record, or the card's free room if less, FAT32's limit on FAT32; a quarter of it twice more
 * where no such run is free; else none, the file growing as it goes */
static void take_room(uint32_t rate_hz)
{
	FIL *fp = file.filep;
	struct fs_statvfs st;
	uint64_t want = day_bytes(rate_hz);

	room = 0;
	if (fs_statvfs(MOUNT, &st) == 0) {
		uint64_t cluster = (uint64_t)fp->obj.fs->csize * 512u;
		uint64_t avail = (uint64_t)st.f_bfree * st.f_frsize;

		/* one cluster kept free, so that the end has its block when the card is full */
		want = MIN(want, avail > cluster ? avail - cluster : 0);
	}
	want = MIN(want, FILE_CAP);
	for (int i = 0; i < ROOM_TRIES; i++) {
		want -= want % REC_BLOCK_BYTES;
		if (want < REC_BLOCK_BYTES) {
			break;
		}
		if (f_expand(fp, (FSIZE_t)want, 1) == FR_OK) {
			room = want;
			LOG_INF("%llu MB taken for the record", (unsigned long long)(room >> 20));
			return;
		}
		want /= 4;
	}
	LOG_WRN("no run of free room: the file grows as it goes");
}

/* the file of a part opened and its room taken: part 1 as the record names it, the next parts
 * _2, _3 and on, each begun with the session's head again, so that each reads on its own */
static void part_name(char *name, size_t cap)
{
	if (part == 1) {
		snprintf(name, cap, "S%05uB%02u.STRK", open_session, open_belka);
	} else {
		snprintf(name, cap, "S%05uB%02u_%u.STRK", open_session, open_belka, part);
	}
}

bool card_recording(char *name, size_t cap, uint64_t *bytes)
{
	if (!file_open) {
		return false;
	}
	part_name(name, cap);
	*bytes = written;
	return true;
}

static int open_part(void)
{
	char path[48], name[32];
	int rc;

	part_name(name, sizeof(name));
	snprintf(path, sizeof(path), MOUNT "/%s", name);
	fs_file_t_init(&file);
	rc = fs_open(&file, path, FS_O_CREATE | FS_O_WRITE | FS_O_TRUNC);
	if (rc) {
		fault = FAULT_WRITE_FAILED;
		return rc;
	}
	written = 0;
	take_room(open_rate);
	return 0;
}

/* the writer's: this part full, closed at its last byte, the next opened with the head first */
static void next_part(void)
{
	if (room > written) {
		(void)f_truncate((FIL *)file.filep);
	}
	room = 0;
	fs_close(&file);
	part++;
	if (open_part() == 0 && head_kept &&
	    fs_write(&file, head_copy, REC_BLOCK_BYTES) == REC_BLOCK_BYTES) {
		written = REC_BLOCK_BYTES;
		LOG_INF("the record goes on in part %u", part);
	} else {
		fault = FAULT_WRITE_FAILED;
	}
}

int card_open(uint16_t session, uint8_t belka, uint32_t rate_hz)
{
	int rc;

	if (!mounted || file_open) {
		return -1;
	}
	open_session = session;
	open_belka = belka;
	open_rate = rate_hz;
	part = 1;
	head_kept = false;
	rc = open_part();
	if (rc) {
		return rc;
	}
	head = tail = 0;
	dropped = 0;
	closing = false;
	fault = FAULT_NONE;                  /* a full or failed write before is this file's
					      * to find again, not the last one's */
	file_open = true;
	return 0;
}

void card_put(const uint8_t block[REC_BLOCK_BYTES])
{
	uint32_t next = (head + 1) % RING_BLOCKS;

	if (!file_open || closing) {
		return;
	}
	if (next == tail || (fault == FAULT_CARD_FULL && block[0] != REC_END)) {
		dropped++;                       /* the buffer full, the card busy too long; or
						  * the card itself full — its end still tried */
		return;
	}
	if (!head_kept && memcmp(block, "STRK", 4) == 0) {
		memcpy(head_copy, block, REC_BLOCK_BYTES);   /* for the next parts */
		head_kept = true;
	}
	memcpy(ring[head], block, REC_BLOCK_BYTES);
	head = next;
	k_sem_give(&blocks_ready);
}

uint32_t card_dropped(void)
{
	return dropped;
}

void card_close(void)
{
	if (file_open) {
		closing = true;                  /* the writer closes it once the ring is out */
		k_sem_give(&blocks_ready);
	}
}

bool card_busy(void)
{
	return file_open;
}

/* 1 every session's file deleted, 2 the card formatted; the file system is the record's
 * meanwhile (main.c refuses both while the Belka records) */
int card_erase(uint8_t what)
{
	struct fs_dir_t dir;
	static struct fs_dirent ent;
	int rc = 0;

	if (!present) {
		return -ENODEV;
	}
	if (file_open) {
		return -EBUSY;
	}
	fault = FAULT_NONE;
	if (what == 2) {
		card_unmount();
		rc = fs_mkfs(FS_FATFS, (uintptr_t)"SD:", NULL, 0);   /* FatFs wants the colon */
		card_mount();
		return rc ? -EIO : 0;
	}
	if (what != 1) {
		return -EINVAL;
	}
	if (!mounted) {
		return -ENODEV;
	}
	fs_dir_t_init(&dir);
	if (fs_opendir(&dir, MOUNT)) {
		return -EIO;
	}
	while (fs_readdir(&dir, &ent) == 0 && ent.name[0]) {
		size_t len = strlen(ent.name);
		char path[sizeof(MOUNT) + MAX_FILE_NAME + 1];

		if (ent.type == FS_DIR_ENTRY_FILE && len > 5 &&
		    strcmp(ent.name + len - 5, ".STRK") == 0) {
			snprintf(path, sizeof(path), MOUNT "/%s", ent.name);
			if (fs_unlink(path)) {
				rc = -EIO;
			}
		}
	}
	fs_closedir(&dir);
	return rc;
}

void card_set_file_allowed(bool allowed)
{
	ARG_UNUSED(allowed);               /* the file comes on the disk, which usb.c guards */
}

bool card_set_file_given(void)
{
	return false;                      /* main.c reads the disk itself */
}

static void writer(void *a, void *b, void *c)
{
	int64_t last_sync = k_uptime_get();

	ARG_UNUSED(a); ARG_UNUSED(b); ARG_UNUSED(c);
	for (;;) {
		k_sem_take(&blocks_ready, K_MSEC(SYNC_MS));
		while (file_open && tail != head) {
			ssize_t n;

			if (written + REC_BLOCK_BYTES > FILE_CAP && fault == FAULT_NONE) {
				next_part();     /* 2 GiB: the record goes on in the next file */
			}
			n = fs_write(&file, ring[tail], REC_BLOCK_BYTES);

			if (n != REC_BLOCK_BYTES) {
				/* FatFs gives a short write, not -ENOSPC, when the volume is full */
				fault = n >= 0 ? FAULT_CARD_FULL : FAULT_WRITE_FAILED;
				LOG_ERR("a write failed (%d)", (int)n);
			}
			if (n > 0) {
				written += (uint64_t)n;
			}
			tail = (tail + 1) % RING_BLOCKS;
		}
		if (tail == head) {
			k_sem_give(&ring_empty);
			if (closing && file_open) {
				if (room > written) {
					/* the room not written given back, the file cut at its
					 * last byte written, where FatFs's pointer stands */
					(void)f_truncate((FIL *)file.filep);
				}
				room = 0;
				fs_close(&file);
				file_open = false;
				closing = false;
				continue;
			}
		}
		if (file_open && k_uptime_get() - last_sync >= SYNC_MS) {
			fs_sync(&file);              /* a power cut loses 3 s at most; the file
						      * keeps its room, cut at the next start */
			last_sync = k_uptime_get();
		}
	}
}

K_THREAD_DEFINE(card_writer, 2048, writer, NULL, NULL, NULL, WRITER_PRIO, 0, 0);
```

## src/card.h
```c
/* NIC-Strelka — the card: FatFs in Zephyr over the SD stack on SPIM20, a session a file, the
 * blocks through a buffer of 128 KB in RAM and a writer of its own below the sensor and the
 * radio, so that neither waits for the card; a block the buffer cannot hold is dropped, never
 * written late (FIRMWARE.md, The record). Kryska's SD NAND is this card; on Kryska's other way
 * the same interface stands before its NOR flash, flash_rec.c, the record raw on it
 * (chapters/kryska-memory.md). Built against nRF Connect SDK v3.4.0, not run
 * on hardware: the kit decides it. */
#ifndef STRELKA_CARD_H
#define STRELKA_CARD_H

#include <stdbool.h>
#include <stdint.h>
#include "protocol.h"

int card_init(void);                       /* the card found and mounted; the fault, or 0 */
int card_mount(void);                      /* the file system taken: the record's, not the host's */
int card_unmount(void);                    /* let go, for the host on the cable to have the disk */
bool card_mounted(void);
uint8_t card_fault(void);                  /* FAULT_NO_CARD, FAULT_FS_UNREADABLE, FAULT_CARD_FULL,
					    * FAULT_WRITE_FAILED or FAULT_NONE */
bool card_present(void);
/* the highest rate the memory keeps with both of the hoof's accelerometer channels: the card any,
 * the NOR way's flash 2 kHz, its pages within the sheet's longest time at it
 * (chapters/kryska-memory.md) */
uint32_t card_both_most_hz(void);
uint8_t card_fs(void);                     /* 0 none, 1 FAT32, 2 exFAT (COMMANDS.md, info) */
uint8_t card_free_pct(void);
uint32_t card_free_mb(void);
/* S00007B03.STRK, as the record names it, its room taken in one run for a day at rate_hz, the
 * record's own rate; given back at the close */
int card_open(uint16_t session, uint8_t belka, uint32_t rate_hz);
void card_put(const uint8_t block[REC_BLOCK_BYTES]);  /* into the buffer; the writer takes it */
void card_close(void);                     /* the writer closes the file once every block is
					    * out; card_busy says when it has */
bool card_busy(void);                      /* a file open or closing */
uint32_t card_dropped(void);               /* blocks dropped since the file was opened */
/* the file being written, its name in the mount and the bytes in it so far, for 64/2: on the
 * card its size is the room taken at the start; false when none is open (Kryska's lists its
 * sessions as they stand) */
bool card_recording(char *name, size_t cap, uint64_t *bytes);
/* 64/5: 1 every session erased, 2 the card formatted — on the NOR way both the whole memory erased,
 * by its writer, card_busy saying while it runs; 0, or -EBUSY while a record runs, -ENODEV with
 * no memory, -EIO when it failed */
int card_erase(uint8_t what);
/* STRELKA.SET given by the cable (FIRMWARE.md, What a unit keeps): on Kryska over SMP on the
 * serial port into the record's file system, allowed where a Belka's disk would be open, and
 * waiting then for main.c to take it as from a disk; the card's own never has one, the file
 * being on its disk */
void card_set_file_allowed(bool allowed);
bool card_set_file_given(void);

#endif
```

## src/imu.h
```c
/* NIC-Strelka — the motion sensor on SPI, one land for ST's LSM6DSV16X, the classic build's, ST's
 * LSM6DSV320X, the hoof's, and TDK's ICM-42686-P or -42688-P, told by WHO_AM_I; pin 9 CLKIN for
 * the ICM, the ODR-triggered mode's reference for the LSM6DSV16X, nothing for the LSM6DSV320X,
 * off the set's clock; the data registers at every data-ready, on the FLPR or, the fallback, the
 * main core (FIRMWARE.md, The sensor and its clock; Reading the sensor). Built against nRF
 * Connect SDK v3.4.0, not run on hardware: the kit decides it. */
#ifndef STRELKA_IMU_H
#define STRELKA_IMU_H

#include <stdbool.h>
#include <stdint.h>
#include "protocol.h"
#include "imu_tables.h"   /* IMU_42688P, IMU_42686P, IMU_LSM6DSV16X, IMU_LSM6DSV320X */

struct imu_config {
	uint16_t rate_hz;      /* the rate on the grid: the rate into memory times N */
	uint16_t acc_g;        /* ±2, 4, 8, 16; 32 on the ICM-42686-P; 32 to 320 on the LSM6DSV320X,
				* its high-g channel */
	uint16_t gyro_dps;     /* ±250 … 2000; 4000 on the ICM-42686-P and the LSMs */
	uint16_t hg;           /* both channels on the LSM6DSV320X: the high-g's ±g, 32–320, the
				* low-g's then acc_g, ±16 g at most; 0 none */
	uint8_t n;             /* the samples a step, N: the LSM6DSV320X's own rate and its filters
				* follow the rate into memory, rate_hz / N; 0 taken as 1 */
};

int imu_init(void);                       /* finds the chip; -ENODEV if none answers */
uint8_t imu_sensor(void);                 /* IMU_…, 0 if none */
uint8_t imu_whoami(void);                 /* 0x47, 0x44, 0xDB, 0x70 or 0x73, for the application */
uint16_t imu_acc_g_max(void);             /* 16, 32 or 320 */
bool imu_on_grid(void);                   /* false: the samples put onto the grid (resample.h) */
/* the sensor's own rate for a rate on the grid whose steps hold n samples */
uint16_t imu_sensor_hz(uint16_t rate_hz, uint8_t n);
/* the accelerometer's full scale its 32 768 steps make (RECORD.md, the head's bytes 143-144) */
uint16_t imu_acc_full_scale(uint16_t acc_g);
uint16_t imu_gyro_dps_max(void);          /* 2000 or 4000 */
/* the gyro's full scale its 32 768 steps make, for the record's head and the orientation: the
 * range on an ICM, wider on the LSM6DSV16X (RECORD.md, the head's bytes 28-29) */
uint16_t imu_gyro_full_scale(uint16_t gyro_dps);
int imu_configure(const struct imu_config *cfg); /* ranges, rate, filters, CLKIN mode, INT1 */
int imu_start(void);                      /* the gyro and the accelerometer on, low-noise */
int imu_stop(void);
int imu_read_step(struct strelka_step *step, int16_t *hg, bool *acc_out, bool *gyro_out);
int16_t imu_last_temp(void);              /* TEMP_DATA raw from the last read */
int16_t imu_temp_centi(void);             /* the same in 0,01 °C, by the chip's own scale */
int imu_read_fifo(struct strelka_step *steps, int max_steps); /* the steps read */
bool imu_rate_ok(uint16_t rate_hz);
bool imu_ranges_ok(uint16_t acc_g, uint16_t gyro_dps);

/* while the FLPR reads the sensor (CONFIG_STRELKA_SENSOR_FLPR, src/sensor_flpr.c): the next sample
 * out of the ring with its stamp, 1 if there was one; and the samples the FLPR lost or passed */
/* hg: the high-g channel's three where both are kept; NULL to leave them */
int imu_ring_pop(struct strelka_step *step, int16_t *hg, uint64_t *stamp, bool *acc_out,
		 bool *gyro_out);
uint32_t imu_dropped(void);

#endif
```

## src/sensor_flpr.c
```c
/* NIC-Strelka — the sensor from the main core's side while the FLPR reads it (FIRMWARE.md, The
 * sensor on the FLPR): imu.c's calls, answered by the ring's head and the commands written into
 * it, and the samples taken out of the ring with their stamps made 64-bit (common/sensor_ring.h).
 * The FLPR's own program is firmware/flpr. Built against nRF Connect SDK v3.4.0, not run on
 * hardware: the kit decides it. */
#include <errno.h>
#include <string.h>
#include <zephyr/kernel.h>
#include <zephyr/init.h>
#include <zephyr/devicetree.h>
#include "imu.h"
#include "imu_tables.h"
#include "sensor_ring.h"
#include "clock.h"

#define RING_NODE DT_NODELABEL(sensor_ring)
BUILD_ASSERT(DT_REG_SIZE(RING_NODE) >= sizeof(struct ring), "the ring's region holds it");
static struct ring *const r = (struct ring *)DT_REG_ADDR(RING_NODE);

static uint8_t kind;

/* the head cleared before the FLPR runs: Nordic's launcher starts it at POST_KERNEL */
static int ring_clear(void)
{
	memset((void *)&r->head, 0, sizeof(r->head));
	r->head.sensor = RING_NOT_YET;
	return 0;
}
SYS_INIT(ring_clear, PRE_KERNEL_1, 0);

/* a command written, its number last; done when the FLPR echoes the number */
static int send(uint8_t cmd)
{
	uint8_t seq = (uint8_t)(r->head.cmd_seq + 1);

	r->head.cmd = cmd;
	RING_FENCE();
	r->head.cmd_seq = seq;
	for (int ms = 0; ms < 200; ms++) {
		if (r->head.done_seq == seq) {
			RING_FENCE();
			return r->head.state == RING_FAULT ? -EIO : 0;
		}
		k_msleep(1);
	}
	return -ETIMEDOUT;
}

int imu_init(void)
{
	for (int ms = 0; ms < 500 && r->head.sensor == RING_NOT_YET; ms++) {
		k_msleep(1);
	}
	RING_FENCE();
	kind = r->head.sensor == RING_NOT_YET ? 0 : imu_kind(r->head.sensor);
	return kind ? 0 : -ENODEV;
}

uint8_t imu_sensor(void)
{
	return kind;
}

uint8_t imu_whoami(void)
{
	return r->head.sensor == RING_NOT_YET ? 0 : r->head.sensor;
}

uint16_t imu_acc_g_max(void)
{
	return imu_acc_g_max_of(kind);
}

bool imu_on_grid(void)
{
	return imu_on_grid_of(kind, r->head.rate_hz);
}

uint16_t imu_sensor_hz(uint16_t rate_hz, uint8_t n)
{
	return imu_sensor_hz_of(kind, rate_hz, n);
}

uint16_t imu_acc_full_scale(uint16_t acc_g)
{
	return imu_acc_full_scale_of(kind, acc_g);
}

uint16_t imu_gyro_dps_max(void)
{
	return imu_gyro_dps_max_of(kind);
}

uint16_t imu_gyro_full_scale(uint16_t gyro_dps)
{
	return imu_gyro_full_scale_of(kind, gyro_dps);
}

bool imu_rate_ok(uint16_t rate_hz)
{
	return imu_rate_ok_of(kind, rate_hz);
}

bool imu_ranges_ok(uint16_t acc_g, uint16_t gyro_dps)
{
	return imu_ranges_ok_of(kind, acc_g, gyro_dps);
}

int imu_configure(const struct imu_config *cfg)
{
	if (!imu_rate_ok_of(kind, cfg->rate_hz) ||
	    !imu_ranges_ok_of(kind, cfg->acc_g, cfg->gyro_dps)) {
		return -EINVAL;
	}
	r->head.rate_hz = cfg->rate_hz;
	r->head.n = cfg->n;
	r->head.acc_g = cfg->acc_g;
	r->head.hg = cfg->hg;
	r->head.gyro_125 = (uint8_t)(cfg->gyro_dps / 125u);
	return send(RING_CMD_SET);
}

int imu_start(void)
{
	return send(RING_CMD_START);
}

int imu_stop(void)
{
	return send(RING_CMD_STOP);
}

int imu_read_step(struct strelka_step *step, int16_t *hg, bool *acc_out, bool *gyro_out)
{
	ARG_UNUSED(step);
	ARG_UNUSED(hg);
	ARG_UNUSED(acc_out);
	ARG_UNUSED(gyro_out);
	return -ENOTSUP;    /* the FLPR reads: imu_ring_pop */
}

int16_t imu_last_temp(void)
{
	return 0;           /* the register's raw value stays on the FLPR */
}

int16_t imu_temp_centi(void)
{
	return ring_temp_centi(r->head.temp_half);
}

int imu_read_fifo(struct strelka_step *steps, int max_steps)
{
	ARG_UNUSED(steps);
	ARG_UNUSED(max_steps);
	return -ENOTSUP;
}

int imu_ring_pop(struct strelka_step *step, int16_t *hg, uint64_t *stamp, bool *acc_out,
		 bool *gyro_out)
{
	struct ring_sample s;

	if (!ring_pop(r, &s)) {
		return 0;
	}
	*stamp = ring_extend(clock_now(), s.stamp);
	*acc_out = *gyro_out = false;
	for (int i = 0; i < 3; i++) {
		step->a[i] = s.a[i];
		step->g[i] = s.g[i];
		if (hg != NULL) {
			hg[i] = s.hg[i];
		}
		if (s.a[i] == INT16_MAX || s.a[i] == INT16_MIN) {
			*acc_out = true;
		}
		if (s.g[i] == INT16_MAX || s.g[i] == INT16_MIN) {
			*gyro_out = true;
		}
	}
	return 1;
}

uint32_t imu_dropped(void)
{
	return (uint32_t)r->head.lost + r->head.missed;
}
```
